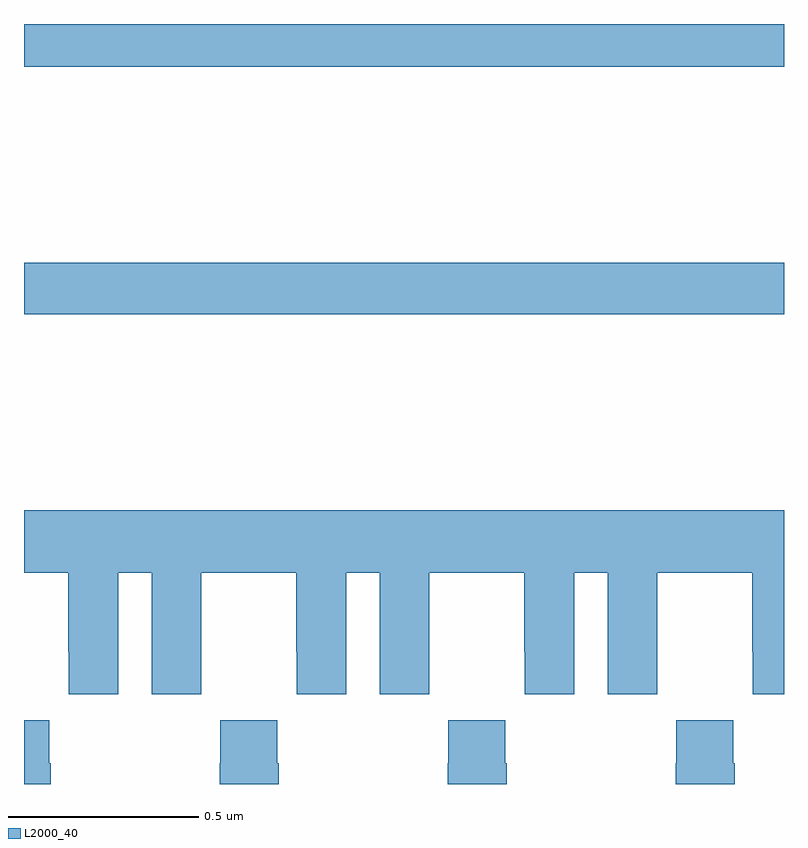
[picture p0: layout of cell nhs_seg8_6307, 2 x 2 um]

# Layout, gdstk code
import gdstk
lib = gdstk.Library(unit=1e-6, precision=1e-09)
def R(c, l, rs):  # rectangles x0, y0, x1, y1
    for r in rs: c.add(gdstk.rectangle(r[:2], r[2:], *l))
def P(c, l, *ps):  # polygons
    for p in ps: c.add(gdstk.Polygon(p, *l))
L2000_40 = (2000, 40)

nhs_seg8_6307 = lib.new_cell('nhs_seg8_6307')
R(nhs_seg8_6307, L2000_40, [(194,1161.136,196,1161.272), (194,1161.788,196,1161.9)])
P(nhs_seg8_6307, L2000_40, [(194,1160.456),(194.117,1160.456),(194.117,1160.248),(194.118,1160.248),(194.118,1160.136),(194.248,1160.136),(194.248,1160.456),(194.336,1160.456),(194.336,1160.136),(194.466,1160.136),(194.466,1160.248),(194.467,1160.248),(194.467,1160.456),(194.717,1160.456),(194.717,1160.248),(194.718,1160.248),(194.718,1160.136),(194.848,1160.136),(194.848,1160.456),(194.936,1160.456),(194.936,1160.136),(195.066,1160.136),(195.066,1160.248),(195.067,1160.248),(195.067,1160.456),(195.317,1160.456),(195.317,1160.248),(195.318,1160.248),(195.318,1160.136),(195.448,1160.136),(195.448,1160.456),(195.536,1160.456),(195.536,1160.136),(195.666,1160.136),(195.666,1160.248),(195.667,1160.248),(195.667,1160.456),(195.917,1160.456),(195.917,1160.248),(195.918,1160.248),(195.918,1160.136),(196,1160.136),(196,1160.62),(194,1160.62)],
  [(194.67,1159.955),(194.667,1159.955),(194.667,1160.068),(194.517,1160.068),(194.517,1159.955),(194.515,1159.955),(194.515,1159.9),(194.67,1159.9)],
  [(194.07,1159.955),(194.067,1159.955),(194.067,1160.068),(194,1160.068),(194,1159.9),(194.07,1159.9)],
  [(195.87,1159.955),(195.867,1159.955),(195.867,1160.068),(195.717,1160.068),(195.717,1159.955),(195.715,1159.955),(195.715,1159.9),(195.87,1159.9)],
  [(195.27,1159.955),(195.267,1159.955),(195.267,1160.068),(195.117,1160.068),(195.117,1159.955),(195.115,1159.955),(195.115,1159.9),(195.27,1159.9)])

lib.write_gds('nhs_seg8_6307.gds')
